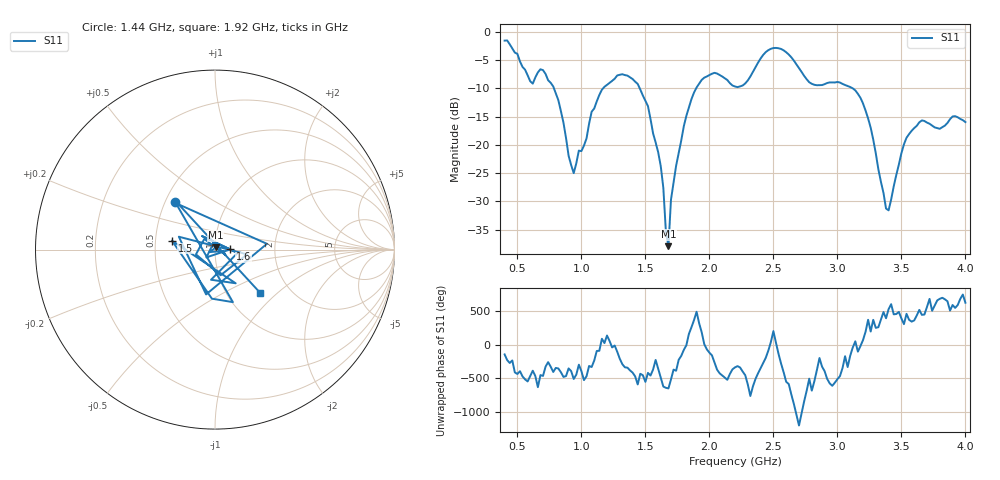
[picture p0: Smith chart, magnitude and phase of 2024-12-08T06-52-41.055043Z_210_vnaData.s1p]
!Created with skrf (http://scikit-rf.org).
# Hz S RI R 50.0
!freq ReS11 ImS11
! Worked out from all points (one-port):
!   181 points, 400 MHz to 4 GHz, reference 50 ohm
!   lowest |S11| = -37.9 dB at 1.68 GHz (marker M1), VSWR 1.03, Z = 50.4 + j1.21 ohm
!   |S11| at or under -10 dB: 785.8 MHz to 1.169 GHz (382.9 MHz wide, 39.2 % of centre); 1.456 GHz to 1.896 GHz (440 MHz wide, 26.3 % of centre); 3.121 GHz to end of sweep
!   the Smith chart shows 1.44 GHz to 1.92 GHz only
!   S11 on the Smith chart (normalised r, x): 1.44 GHz: 0.56, +0.34; 1.5 GHz: 0.61, +0.06; 1.6 GHz: 1.19, +0.00; 1.92 GHz: 1.42, -0.78
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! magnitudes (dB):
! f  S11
! 400 MHz  -1.5
! 620 MHz  -9.1
! 700 MHz  -6.8
! 860 MHz  -16.1
! 940 MHz  -25.0
! 1.14 GHz  -11.2
! 1.3 GHz  -7.6
! 1.44 GHz  -9.2
! 1.5 GHz  -12.2
! 1.6 GHz  -21.3
! 1.64 GHz  -27.6
! 1.66 GHz  -35.4
! 1.68 GHz  -37.9
! 1.7 GHz  -29.7
! 1.76 GHz  -21.5
! 1.82 GHz  -14.9
! 1.92 GHz  -9.2
! 2.04 GHz  -7.2
! 2.2 GHz  -9.7
! 2.48 GHz  -3.0
! 2.66 GHz  -5.1
! 2.8 GHz  -9.2
! 3.1 GHz  -9.7
! 3.24 GHz  -15.3
! 3.38 GHz  -31.3
! 3.56 GHz  -18.1
! 3.66 GHz  -15.7
! 4 GHz  -16.0
